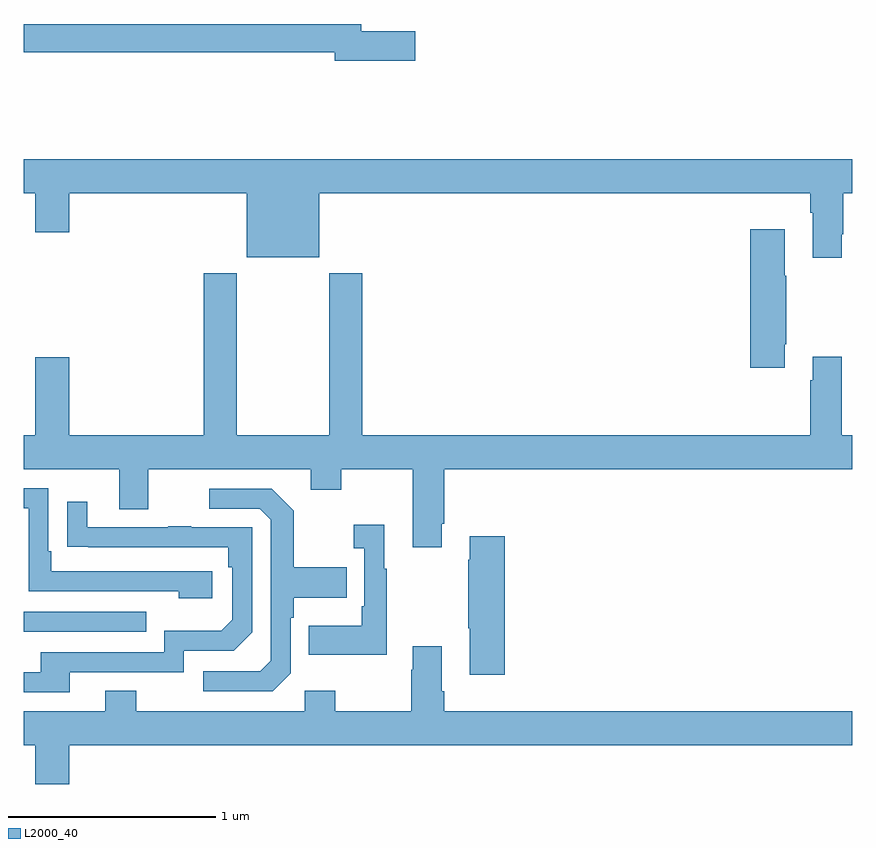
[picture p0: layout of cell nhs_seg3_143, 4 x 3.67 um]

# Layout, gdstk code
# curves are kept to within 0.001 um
import gdstk
lib = gdstk.Library(unit=1e-6, precision=1e-09)
def R(c, l, rs):  # rectangles x0, y0, x1, y1
    for r in rs: c.add(gdstk.rectangle(r[:2], r[2:], *l))
def P(c, l, *ps):  # polygons
    for p in ps: c.add(gdstk.Polygon(p, *l))
L2000_40 = (2000, 40)

nhs_seg3_143 = lib.new_cell('nhs_seg3_143')
R(nhs_seg3_143, L2000_40, [(117,713.451,117.593,713.547)])
P(nhs_seg3_143, L2000_40, [(118.891,716.348),(118.63,716.348),(118.63,716.384),(117,716.384),(117,716.248),(118.502,716.248),(118.502,716.206),(118.891,716.206)],
  [(120.949,715.369),(120.957,715.369),(120.957,715.568),(121,715.568),(121,715.732),(117,715.732),(117,715.568),(117.056,715.568),(117.056,715.38),(117.22,715.38),(117.22,715.568),(118.076,715.568),(118.076,715.259),(118.426,715.259),(118.426,715.568),(120.797,715.568),(120.797,715.472),(120.809,715.472),(120.809,715.257),(120.949,715.257)],
  [(120.673,714.838),(120.681,714.838),(120.681,715.169),(120.673,715.169),(120.673,715.393),(120.506,715.393),(120.506,714.726),(120.673,714.726)],
  [(119.017,713.971),(119.03,713.971),(119.03,714.236),(121,714.236),(121,714.4),(120.949,714.4),(120.949,714.778),(120.809,714.778),(120.809,714.665),(120.797,714.665),(120.797,714.4),(118.634,714.4),(118.634,715.18),(118.474,715.18),(118.474,714.4),(118.029,714.4),(118.029,715.18),(117.869,715.18),(117.869,714.4),(117.22,714.4),(117.22,714.775),(117.056,714.775),(117.056,714.4),(117,714.4),(117,714.236),(117.461,714.236),(117.461,714.042),(117.601,714.042),(117.601,714.236),(118.385,714.236),(118.385,714.137),(118.533,714.137),(118.533,714.236),(118.877,714.236),(118.877,713.859),(119.017,713.859)],
  [(117.91,713.742),(117.133,713.742),(117.133,713.839),(117.12,713.839),(117.12,714.144),(117,714.144),(117,714.048),(117.024,714.048),(117.024,713.646),(117.749,713.646),(117.749,713.612),(117.91,713.612)],
  [(118.29,713.25),(118.29,713.519),(118.303,713.519),(118.303,713.615),(118.559,713.615),(118.559,713.763),(118.303,713.763),(118.303,714.035),(118.197,714.141),(117.897,714.141),(117.897,714.045),(118.14,714.045),(118.194,713.991),(118.194,713.31),(118.143,713.259),(117.867,713.259),(117.867,713.163),(118.203,713.163)],
  [(117.223,713.256),(117.774,713.256),(117.774,713.358),(118.014,713.358),(118.104,713.448),(118.104,713.955),(117.809,713.955),(117.809,713.96),(117.697,713.96),(117.697,713.955),(117.307,713.955),(117.307,714.079),(117.211,714.079),(117.211,713.86),(117.988,713.859),(117.988,713.762),(118.008,713.762),(118.008,713.508),(117.955,713.455),(117.678,713.455),(117.678,713.352),(117.083,713.352),(117.083,713.256),(117,713.256),(117,713.16),(117.223,713.16)],
  [(118.753,713.755),(118.741,713.755),(118.741,713.968),(118.593,713.968),(118.593,713.855),(118.644,713.855),(118.644,713.575),(118.632,713.575),(118.632,713.479),(118.375,713.479),(118.375,713.339),(118.753,713.339)],
  [(119.321,713.911),(119.153,713.911),(119.153,713.798),(119.146,713.798),(119.146,713.467),(119.153,713.467),(119.153,713.244),(119.321,713.244)],
  [(117.22,712.904),(121,712.904),(121,713.068),(119.03,713.068),(119.03,713.164),(119.017,713.164),(119.017,713.38),(118.877,713.38),(118.877,713.267),(118.87,713.267),(118.87,713.068),(118.503,713.068),(118.503,713.167),(118.356,713.167),(118.356,713.068),(117.543,713.068),(117.543,713.167),(117.395,713.167),(117.395,713.068),(117,713.068),(117,712.904),(117.056,712.904),(117.056,712.716),(117.22,712.716)])

lib.write_gds('nhs_seg3_143.gds')
